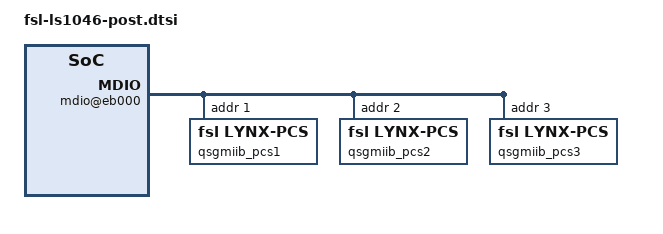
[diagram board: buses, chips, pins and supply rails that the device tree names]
// SPDX-License-Identifier: (GPL-2.0+ OR BSD-3-Clause)
/*
 * QorIQ FMan v3 device tree nodes for ls1046
 *
 * Copyright 2015-2016 Freescale Semiconductor Inc.
 *
 */

&soc {

/* include used FMan blocks */
#include "qoriq-fman3-0.dtsi"
#include "qoriq-fman3-0-1g-0.dtsi"
#include "qoriq-fman3-0-1g-1.dtsi"
#include "qoriq-fman3-0-1g-2.dtsi"
#include "qoriq-fman3-0-1g-3.dtsi"
#include "qoriq-fman3-0-1g-4.dtsi"
#include "qoriq-fman3-0-1g-5.dtsi"
#include "qoriq-fman3-0-10g-0.dtsi"
#include "qoriq-fman3-0-10g-1.dtsi"
};

&fman0 {
	/* these aliases provide the FMan ports mapping */
	enet0: ethernet@e0000 {
		pcsphy-handle = <&qsgmiib_pcs3>;
		pcs-handle = <&qsgmiib_pcs3>;
		pcs-handle-names = "qsgmii";
	};

	enet1: ethernet@e2000 {
	};

	enet2: ethernet@e4000 {
	};

	enet3: ethernet@e6000 {
	};

	enet4: ethernet@e8000 {
		pcsphy-handle = <&pcsphy4>, <&qsgmiib_pcs1>;
		pcs-handle = <&pcsphy4>, <&qsgmiib_pcs1>;
		pcs-handle-names = "sgmii", "qsgmii";
	};

	enet5: ethernet@ea000 {
		pcsphy-handle = <&pcsphy5>, <&pcsphy5>;
		pcs-handle = <&pcsphy5>, <&pcsphy5>;
		pcs-handle-names = "sgmii", "qsgmii";
	};

	enet6: ethernet@f0000 {
	};

	enet7: ethernet@f2000 {
		pcsphy-handle = <&pcsphy7>, <&qsgmiib_pcs2>, <&pcsphy7>;
		pcs-handle = <&pcsphy7>, <&qsgmiib_pcs2>, <&pcsphy7>;
		pcs-handle-names = "sgmii", "qsgmii", "xfi";
	};

	mdio@eb000 {
		qsgmiib_pcs1: ethernet-pcs@1 {
			compatible = "fsl,lynx-pcs";
			reg = <0x1>;
		};

		qsgmiib_pcs2: ethernet-pcs@2 {
			compatible = "fsl,lynx-pcs";
			reg = <0x2>;
		};

		qsgmiib_pcs3: ethernet-pcs@3 {
			compatible = "fsl,lynx-pcs";
			reg = <0x3>;
		};
	};
};
